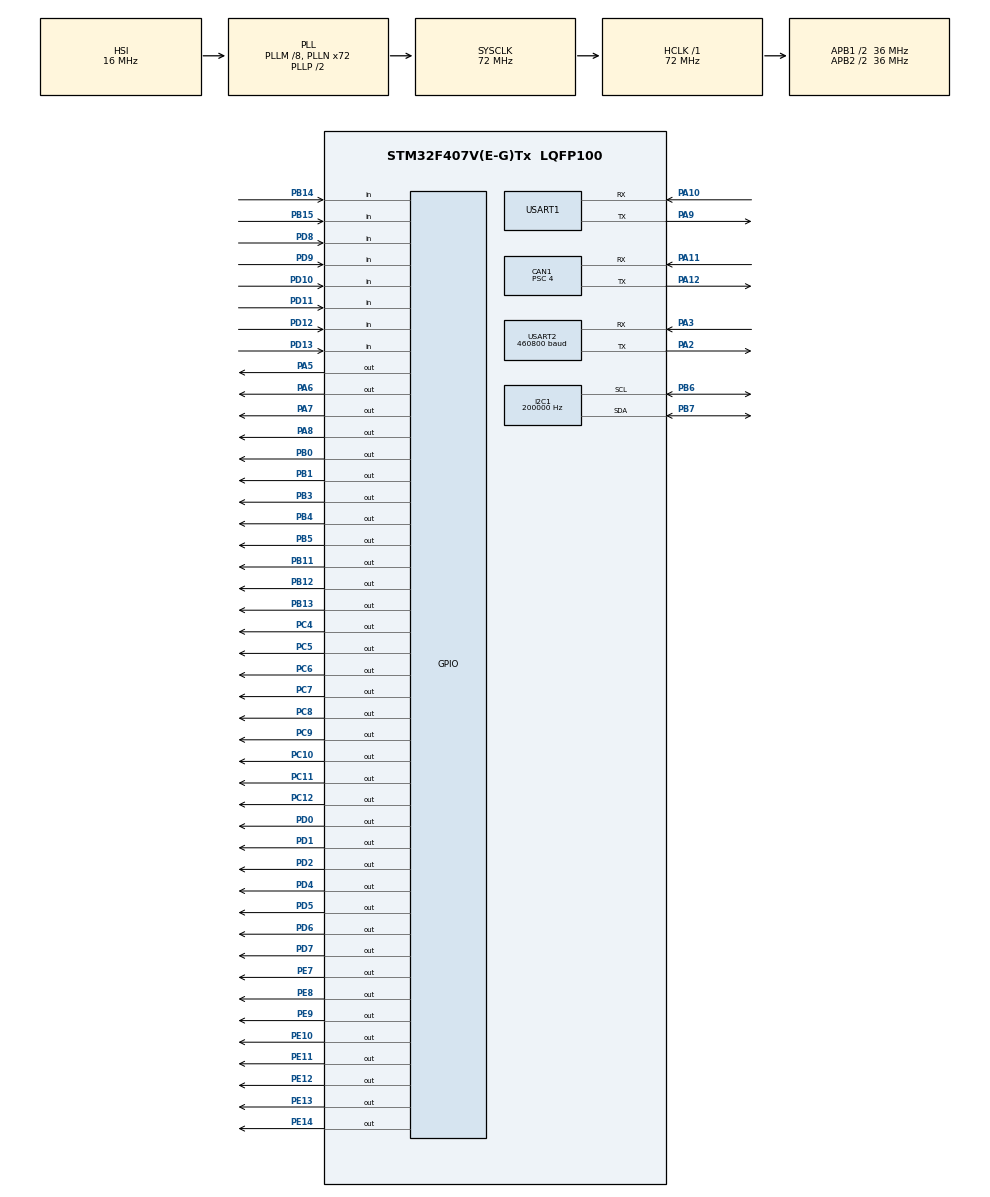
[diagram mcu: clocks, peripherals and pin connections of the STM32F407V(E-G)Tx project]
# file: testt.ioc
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CAN1.BS1=CAN_BS1_15TQ
CAN1.BS2=CAN_BS2_2TQ
CAN1.CalculateBaudRate=500000
CAN1.CalculateTimeBit=2000
CAN1.CalculateTimeQuantum=111.11111111111111
CAN1.Mode=CAN_MODE_NORMAL
CAN1.Prescaler=4
I2C1.ClockSpeed=200000
I2C1.I2C_Mode=I2C_Fast
Mcu.Family=STM32F4
Mcu.Name=STM32F407V(E-G)Tx
Mcu.Package=LQFP100
NVIC.CAN1_RX0_IRQn=true\:0\:0\:false\:false\:true\:true\:true\:true
NVIC.CAN1_RX1_IRQn=true\:0\:0\:false\:false\:true\:true\:true\:true
NVIC.CAN1_TX_IRQn=true\:0\:0\:false\:false\:true\:true\:true\:true
NVIC.PriorityGroup=NVIC_PRIORITYGROUP_4
NVIC.USART2_IRQn=true\:0\:0\:false\:false\:true\:true\:true\:true
PA10.Mode=Asynchronous
PA10.Signal=USART1_RX
PA11.GPIO_PuPd=GPIO_NOPULL
PA11.Mode=CAN_Activate
PA11.Signal=CAN1_RX
PA12.Mode=CAN_Activate
PA12.Signal=CAN1_TX
PA13.Mode=Serial_Wire
PA13.Signal=SYS_JTMS-SWDIO
PA14.Mode=Serial_Wire
PA14.Signal=SYS_JTCK-SWCLK
PA2.Mode=Asynchronous
PA2.Signal=USART2_TX
PA3.Mode=Asynchronous
PA3.Signal=USART2_RX
PA5.Signal=GPIO_Output
PA6.Signal=GPIO_Output
PA7.Signal=GPIO_Output
PA8.Signal=GPIO_Output
PA9.Mode=Asynchronous
PA9.Signal=USART1_TX
PB0.Signal=GPIO_Output
PB1.Signal=GPIO_Output
PB11.Signal=GPIO_Output
PB12.Signal=GPIO_Output
PB13.Signal=GPIO_Output
PB14.Signal=GPIO_Input
PB15.Signal=GPIO_Input
PB3.Signal=GPIO_Output
PB4.Signal=GPIO_Output
PB5.Signal=GPIO_Output
PB6.Mode=I2C
PB6.Signal=I2C1_SCL
PB7.Mode=I2C
PB7.Signal=I2C1_SDA
PC10.Signal=GPIO_Output
PC11.Signal=GPIO_Output
PC12.Signal=GPIO_Output
PC4.Signal=GPIO_Output
PC5.Signal=GPIO_Output
PC6.Signal=GPIO_Output
PC7.Signal=GPIO_Output
PC8.Signal=GPIO_Output
PC9.Signal=GPIO_Output
PD0.Signal=GPIO_Output
PD1.Signal=GPIO_Output
PD10.Signal=GPIO_Input
PD11.Signal=GPIO_Input
PD12.Signal=GPIO_Input
PD13.Signal=GPIO_Input
PD2.Signal=GPIO_Output
PD4.Signal=GPIO_Output
PD5.Signal=GPIO_Output
PD6.Signal=GPIO_Output
PD7.Signal=GPIO_Output
PD8.Signal=GPIO_Input
PD9.Signal=GPIO_Input
PE10.Signal=GPIO_Output
PE11.Signal=GPIO_Output
PE12.Signal=GPIO_Output
PE13.Signal=GPIO_Output
PE14.Signal=GPIO_Output
PE7.Signal=GPIO_Output
PE8.Signal=GPIO_Output
PE9.Signal=GPIO_Output
PH0-OSC_IN.Mode=HSE-External-Oscillator
PH0-OSC_IN.Signal=RCC_OSC_IN
PH1-OSC_OUT.Mode=HSE-External-Oscillator
PH1-OSC_OUT.Signal=RCC_OSC_OUT
ProjectManager.HeapSize=0x200
ProjectManager.StackSize=0x400
ProjectManager.TargetToolchain=STM32CubeIDE
RCC.48MHZClocksFreq_Value=36000000
RCC.AHBFreq_Value=72000000
RCC.APB1CLKDivider=RCC_HCLK_DIV2
RCC.APB1Freq_Value=36000000
RCC.APB1TimFreq_Value=72000000
RCC.APB2CLKDivider=RCC_HCLK_DIV2
RCC.APB2Freq_Value=36000000
RCC.APB2TimFreq_Value=72000000
RCC.CortexFreq_Value=72000000
RCC.HCLKFreq_Value=72000000
RCC.HSE_VALUE=16000000
RCC.HSI_VALUE=16000000
RCC.LSE_VALUE=32768
RCC.PLLM=8
RCC.PLLN=72
RCC.SYSCLKFreq_VALUE=72000000
RCC.SYSCLKSource=RCC_SYSCLKSOURCE_PLLCLK
RCC.VCOOutputFreq_Value=144000000
TIM1.Period=0xFFFF - 1
TIM1.Prescaler=168 -1
USART1.VirtualMode=VM_ASYNC
USART2.BaudRate=460800
USART2.VirtualMode=VM_ASYNC
VP_TIM1_VS_ClockSourceINT.Mode=Internal
board=custom

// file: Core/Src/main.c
/* USER CODE BEGIN Header */
/**
  ******************************************************************************
  * @file           : main.c
  * @brief          : Main program body
  ******************************************************************************
  * @attention
  *
  * Copyright (c) 2025 STMicroelectronics.
  * All rights reserved.
  *
  * This software is licensed under terms that can be found in the LICENSE file
  * in the root directory of this software component.
  * If no LICENSE file comes with this software, it is provided AS-IS.
  *
  ******************************************************************************
  */
/* USER CODE END Header */
#include "main.h"

/* USER CODE BEGIN Includes */
#include "stdio.h"
#include "stdbool.h"

#include "../../app/Screen.h"

#include "../../lib/AT24Cxx.h"
#include "../../lib/ADS1115.h"

#include "Control_IC.h"

/* USER CODE END Includes */

/* USER CODE BEGIN PD */
#define DEVICE 2
/* USER CODE END PD */

CAN_HandleTypeDef hcan1;

I2C_HandleTypeDef hi2c1;

TIM_HandleTypeDef htim1;

UART_HandleTypeDef huart1;
UART_HandleTypeDef huart2;

/* USER CODE BEGIN PV */

uint8_t Data_test_short_circuit[20] = {2,2,2,2,2,2,2,2,2,2,2,2,2,2,2,2,2,2,2,2};

uint8_t dataRX[100];
uint8_t data_output[20] ={0};
  // "$4053"                // NAME
  // "Description"          // Description
  // "16"                   // Num pin
  // "8"                    // Num case
// char *data_test = {
//   "11L1100G0001011V\n"
//   "11L1100G0011101V\n"
//   "11L1100G0101110V\n"
//   "11L1100G0110111V\n"
//   "01L1100G1001111V\n"
//   "11L1000G1011111V\n"
//   "10L1100G1101111V\n"
//   "11L0100G1111111V\n"
// 		"end"
// };
char data_test[250];
/* USER CODE END PV */

void SystemClock_Config(void);
static void MX_GPIO_Init(void);
static void MX_USART2_UART_Init(void);
static void MX_TIM1_Init(void);
static void MX_I2C1_Init(void);
static void MX_CAN1_Init(void);
static void MX_USART1_UART_Init(void);
/* USER CODE BEGIN PFP */

struct __FILE
{
  int handle;
  /* Whatever you require here. If the only file you are using is */
  /* standard output using printf() for debugging, no file handling */
  /* is required. */
};
/* USER CODE END PFP */

/* USER CODE BEGIN 0 */

CAN_TxHeaderTypeDef TxHeader;
CAN_RxHeaderTypeDef RxHeader;

uint8_t TxData[8];
uint8_t RxData[8];

uint32_t TxMailbox;

uint8_t ena = 0;
uint8_t RxCAn = 0;

float ADC_data[20] = {0};
float ADC_DUT1;
uint8_t channel_read_adc = 0;

IsoTpLink CAN_iso;
static uint8_t can_iso_recv_buf[250];
static uint8_t can_iso_send_buf[250];

Control_IC_Test_t Control_IC_test;
bool flag_run_test;

/* USER CODE END 0 */

int main(void)
{

  /* MCU Configuration--------------------------------------------------------*/

  /* Reset of all peripherals, Initializes the Flash interface and the Systick. */
  HAL_Init();

  /* Configure the system clock */
  SystemClock_Config();

  /* Initialize all configured peripherals */
  MX_GPIO_Init();
  MX_USART2_UART_Init();
  MX_TIM1_Init();
  MX_I2C1_Init();
  MX_CAN1_Init();
  MX_USART1_UART_Init();
  /* USER CODE BEGIN 2 */

  // Init STM32
//  HAL_Delay(3000);
  HAL_UARTEx_ReceiveToIdle_IT(&huart2, dataRX, sizeof(dataRX)); // Enable interrupt UART

  HAL_TIM_Base_Start(&htim1);

  // Init custom code
//  Control_IC_begin();

  Latch_IC_begin();

  //  uint8_t IC_test_data[20] = {0,0,0,0,0,0,0,0,0,1,0,0,0,0,0,0,0,0,0,0};
    // uint8_t IC_test_data[20] = {2,2,2,2,2,2,2,2,2,1,0,2,2,2,2,2,2,2,2,2};
  uint8_t IC_test_data_1[20] = {0,0,2,0,0,0,0,0,2,1,0,2,0,0,0,0,1,0,0,1};  // 0
  uint8_t IC_test_data_2[20] = {0,0,2,0,0,0,0,0,2,1,0,2,0,0,0,0,0,0,0,1};  // 0
  uint8_t IC_test_data[20] =   {2,2,2,2,2,2,2,2,2,0,1,2,2,2,2,2,2,2,2,2};

//  uint8_t IC_test_data[20];
  memset(IC_test_data,2,sizeof(IC_test_data));
  WritePin_ICTest(IC_test_data);
  TurnOff_short_circuit();
  uint8_t data_Ron[20];
  memset(data_Ron,1,sizeof(data_Ron));
  WritePin_Ron(data_Ron);

  flag_run_test = false;
  //  uint8_t data_Current[20] = {0,0,0,0,0,0,1,0,0,0,0,0,0,0,0,0,0,0,0,0};
//  memset(data_Current,1,sizeof(data_Current));
  //  WritePin_CurrentLeakage(data_Current);
//  HAL_GPIO_WritePin(GPIOE, GPIO_PIN_7, GPIO_PIN_RESET);
//  HAL_GPIO_WritePin(GPIOE, GPIO_PIN_8, GPIO_PIN_SET);

  ADS1115_t ADS1115;
  config_reg_t config_reg_ads;
  config_reg_ads.PGA = PGA_6_144;
  config_reg_ads.channel = DEFAULT_VALUE_CHANNEL;
  config_reg_ads.compareMode = DEFAULT_VALUE_COMP_MODE;
  config_reg_ads.DataRate = DEFAULT_VALUE_DATARATE;
  config_reg_ads.latchingMode = DEFAULT_VALUE_COMP_LAT;
  config_reg_ads.mode = DEFAULT_VALUE_MODE;
  config_reg_ads.polarityMode = DEFAULT_VALUE_COMP_POL;
  config_reg_ads.queueComparator = DEFAULT_VALUE_COMP_QUE;

  ADS1115.config = &config_reg_ads;

  ADS1115_Init(&ADS1115,&hi2c1,ADS1115_READ_ADC_ADDRESS);

  // TurnOn_short_circuit();
  // for (uint8_t i = 0; i < 20; i++) {
  //   Read_ADC_IC_test(&ADS1115,i,ADC_data);
  // }
  // TurnOff_short_circuit();
  //   memset(IC_test_data,1,sizeof(IC_test_data));
  //   WritePin_ICTest(IC_test_data);
  // for (uint8_t i = 0; i < 20; i++) {
  //   Read_ADC_IC_test(&ADS1115,i,ADC_data);
  // }

//  Screen_begin(&huart2);

  // uint8_t num_case = 8;
  // uint8_t num_pin  = 16;
  uint8_t num_pin_control = 20;
  // uint8_t (*data_control)[20] = malloc(num_case * sizeof(*data_control));

  char * ptr_data_test ;
  uint8_t count_case = 0;

  uint8_t buffer[20];
  uint8_t can_send_result_test[500];
  /* convert data test to data control IC test */
//  ptr_data_test = strtok(data_test,"\n");
//  while (ptr_data_test != NULL) {
//    convert_data_test(num_pin,ptr_data_test,data_control[count_case]);
//    memcpy(buffer,data_control[count_case],20);
//    count_case++;
//    // ptr_data_test = strchr(ptr_data_test,'\n');
//    ptr_data_test = strtok(NULL,"\n");
//    // ptr_data_test++;
//  }

  //  HAL_GPIO_WritePin(GPIOC,GPIO_PIN_7,GPIO_PIN_SET); // D0
  //  HAL_GPIO_WritePin(GPIOC,GPIO_PIN_6,GPIO_PIN_SET); // D1

//  Control_Program_IC_Test(data_test[1],16);

  // Active the notification
//  TxHeader.DLC = 6;
//  TxHeader.StdId = 0x103;
//  TxHeader.IDE = CAN_ID_STD;
//  TxHeader.RTR = CAN_RTR_DATA;
//
//  uint8_t data_tx[6] = {'H','E','L','L','O','3'};
  // HAL_CAN_AddTxMessage(&hcan1, &TxHeader, data_tx, &TxMailbox);

#if DEVICE == 1
  isotp_init_link(&CAN_iso, 0x471, can_iso_send_buf , sizeof(can_iso_send_buf)
                                , can_iso_recv_buf, sizeof(can_iso_recv_buf));
#elif DEVICE == 2
  isotp_init_link(&CAN_iso, 0x472, can_iso_send_buf , sizeof(can_iso_send_buf)
                              , can_iso_recv_buf, sizeof(can_iso_recv_buf));
#elif DEVICE == 3
  isotp_init_link(&CAN_iso, 0x473, can_iso_send_buf , sizeof(can_iso_send_buf)
                                , can_iso_recv_buf, sizeof(can_iso_recv_buf));
#endif

  /* start the CAN */
  HAL_CAN_Start(&hcan1);

  HAL_CAN_ActivateNotification(&hcan1, CAN_IT_RX_FIFO0_MSG_PENDING);

  // uint32_t pre;
  // pre = 0;
  /* USER CODE END 2 */

  /* Infinite loop */
    while (1)
  {

    /* USER CODE BEGIN 3 */

//    if (HAL_GetTick() - pre > 2000) {
//      uint8_t send_data[200];
//      memcpy(send_data,data_test,140);
//      isotp_send(&CAN_iso, send_data, 140);
//      pre = HAL_GetTick();
//    }

      // HAL_CAN_AddTxMessage(&hcan1, &TxHeader, data_tx, &TxMailbox);
	    // HAL_Delay(2000);
	  //  HAL_GPIO_TogglePin(GPIOD, GPIO_PIN_9);
	  //  HAL_Delay(1000);
//    WritePin_ICTest(IC_test_data_1);
//    ReadPin_IC_test(data_read);
    // WritePin_ICTest(IC_test_data);
    // ReadPin_IC_test(data_read);
//    for (uint8_t i = 0; i < 20; i++) {
//      Read_ADC_IC_test(&ADS1115,i,ADC_data);
//      // ADC_DUT1 = ADS1115_single_getdata(&ADS1115, CHANNEL_AIN0_GND);
//    }
//    Read_ADC_IC_test(&ADS1115,channel_read_adc,ADC_data);
//	  HAL_Delay(10);
    if (flag_run_test) {
      /* First test short circuit */
      switch (Control_IC_test.cur_case) {
        case TEST_SHORT_CIRCUIT : {
          /* setup float pin IC test, enable PULLUP,PULLDOWN */
          Control_IC_test.data_control_testing = &Data_test_short_circuit;
          Control_IC_test.isShort = 0;
          reset_TXS();
          // Control_IC_test.result_short_pin = malloc(num_pin_control);
          memset(Control_IC_test.result_short_pin,1,num_pin_control);
          WritePin_ICTest(Control_IC_test.data_control_testing);
          TurnOn_short_circuit();
          Control_IC_test.result_short_circuit = malloc(20 * sizeof(float));
          /* read the adc pin */
          for (uint8_t i = 0; i < 20; i++) {
            Read_ADC_IC_test(&ADS1115,i,Control_IC_test.result_short_circuit);
            if (Control_IC_test.result_short_circuit[i] < 2.0f || Control_IC_test.result_short_circuit[i] > 2.8f) {
              Control_IC_test.result_short_pin[i] = 0;
              Control_IC_test.isShort = 1;
            }
          }
          memcpy(ADC_data,Control_IC_test.result_short_circuit,20*4);
          if (Control_IC_test.num_pin == 18) {
              for (uint8_t i = 9; i < Control_IC_test.num_pin; i++) {
                Control_IC_test.result_short_pin[i] = Control_IC_test.result_short_pin[i + 2];
              }
          } else if (Control_IC_test.num_pin == 16) {
              for (uint8_t i = 8; i < Control_IC_test.num_pin; i++) {
                Control_IC_test.result_short_pin[i] = Control_IC_test.result_short_pin[i + 4];
              }
          } else if (Control_IC_test.num_pin == 14) {
              for (uint8_t i = 7; i < Control_IC_test.num_pin; i++) {
                Control_IC_test.result_short_pin[i] = Control_IC_test.result_short_pin[i + 6];
              }
          }
          TurnOff_short_circuit();

          if (Control_IC_test.isShort) {
            Control_IC_test.cur_case = FINISH_TEST;
          } else {
            Control_IC_test.cur_case = TEST_FUNCTION;
          }
        } break;
        case TEST_FUNCTION : {
          uint8_t copy_buf[500] = {0};
          bool is_clock_transition = false;

          /* reset array */
          memset(Control_IC_test.data_control_first_state,0,sizeof(Control_IC_test.data_control_first_state));
          memset(Control_IC_test.data_control_second_state,0,sizeof(Control_IC_test.data_control_second_state));

          /* convert data test to data control IC test */
          Control_IC_test.data_control_testing = malloc(Control_IC_test.num_case * num_pin_control);
          memset(Control_IC_test.data_control_testing,0,Control_IC_test.num_case * num_pin_control);

          memcpy(copy_buf,Control_IC_test.data_test,Control_IC_test.data_test_len);
          count_case = 0;
          ptr_data_test = strtok(copy_buf,"\n");
          /* need check first case to know have clock transition or not */
          is_clock_transition = has_clock_transition(Control_IC_test.num_pin,ptr_data_test);
          /* convert and check data per case */
          while (ptr_data_test != NULL) {
            if (is_clock_transition) {
              convert_data_test_first_state(Control_IC_test.num_pin,ptr_data_test,&Control_IC_test.data_control_first_state[num_pin_control * count_case]);
              convert_data_test_second_state(Control_IC_test.num_pin,ptr_data_test,&Control_IC_test.data_control_second_state[num_pin_control * count_case]);
            } else {
              convert_data_test(Control_IC_test.num_pin,ptr_data_test,&Control_IC_test.data_control_testing[num_pin_control * count_case]);
              // memcpy(buffer,Control_IC_test.data_control_testing + (num_pin_control * count_case),20);
            }
            count_case++;
            ptr_data_test = strtok(NULL,"\n"); /* go to next case test data */
          }

          /* control pin with data test */
          TurnOff_short_circuit();
          Control_IC_test.result_test_function = malloc(Control_IC_test.num_case * Control_IC_test.num_pin);
          memset(Control_IC_test.result_test_function,0,Control_IC_test.num_case * Control_IC_test.num_pin);
          count_case = 0;
          while (count_case < Control_IC_test.num_case) {
            reset_TXS();
            if (is_clock_transition) {
              WritePin_ICTest(Control_IC_test.data_control_first_state + (num_pin_control * count_case));
              HAL_Delay(10);
              WritePin_ICTest(Control_IC_test.data_control_second_state + (num_pin_control * count_case));
              HAL_Delay(10);
            } else {
              WritePin_ICTest(Control_IC_test.data_control_testing + (num_pin_control * count_case));
              memcpy(buffer,Control_IC_test.data_control_testing + (num_pin_control * count_case),20);
              HAL_Delay(10);
            }

            ReadPin_IC_test(Control_IC_test.result_test_function + (Control_IC_test.num_pin * count_case),Control_IC_test.num_pin);
//              memcpy(buffer,Control_IC_test.result_test_function + (Control_IC_test.num_pin * count_case),Control_IC_test.num_pin);
            count_case++;
          }

          memcpy(can_send_result_test,Control_IC_test.result_test_function,Control_IC_test.num_pin * Control_IC_test.num_case);
          /* check result */
          // Control_IC_test.result_case = malloc(Control_IC_test.num_case * sizeof(uint8_t));
          memset(Control_IC_test.result_case,0,sizeof(Control_IC_test.result_case));
          memset(Control_IC_test.result_case,1,Control_IC_test.num_case);
          count_case = 0;
          memcpy(copy_buf,Control_IC_test.data_test,Control_IC_test.data_test_len);
          ptr_data_test = strtok(copy_buf,"\n");

          while (ptr_data_test != NULL) {
            // uint8_t *result_case = (uint8_t *)(Control_IC_test.result_test_function + (Control_IC_test.num_pin * count_case));
            // memcpy(buffer,result_case,Control_IC_test.num_pin);
            for (uint8_t pin = 0; pin < Control_IC_test.num_pin; pin++) {
              if (ptr_data_test[pin] == 'U' || ptr_data_test[pin] == 'D') {
                continue;
              }
              if (convert_data_compare(ptr_data_test[pin]) != can_send_result_test[pin + (count_case * Control_IC_test.num_pin)]) {
                Control_IC_test.result_case[count_case] = 0;
                break;
              }
            }
            count_case++;
            ptr_data_test = strtok(NULL,"\n");
          }
          memcpy(buffer,Control_IC_test.result_case,Control_IC_test.num_case);
          Control_IC_test.cur_case = FINISH_TEST;
        } break;
        case FINISH_TEST : {
          /* send data to master */
          uint8_t total_data_send_can[500];
          memset(total_data_send_can,0,sizeof(total_data_send_can));
          total_data_send_can[0] = Control_IC_test.isShort;
          memcpy(&total_data_send_can[2],&Control_IC_test.result_short_pin[0],Control_IC_test.num_pin);
          memcpy(&total_data_send_can[Control_IC_test.num_pin+3],Control_IC_test.result_test_function,Control_IC_test.num_case*Control_IC_test.num_pin);
          memcpy(&total_data_send_can[Control_IC_test.num_pin+5+Control_IC_test.num_case*Control_IC_test.num_pin],Control_IC_test.result_case,Control_IC_test.num_case);
          /* convert data to char type */
          for (uint16_t i = 0; i < (Control_IC_test.num_pin + 6 + Control_IC_test.num_case*Control_IC_test.num_pin + Control_IC_test.num_case); i++) {
            total_data_send_can[i] = '0' + total_data_send_can[i];
          }

          total_data_send_can[1] = '\0';
          total_data_send_can[Control_IC_test.num_pin+2] = '\0';
          total_data_send_can[Control_IC_test.num_pin+4+Control_IC_test.num_case*Control_IC_test.num_pin] = '\0';
          isotp_send(&CAN_iso,total_data_send_can,(Control_IC_test.num_pin + 4 + Control_IC_test.num_case*Control_IC_test.num_pin + Control_IC_test.num_case));
          flag_run_test = false;
        } break;
        default : break;
      }
    }

  }
  /* USER CODE END 3 */
}

void SystemClock_Config(void)
{
  RCC_OscInitTypeDef RCC_OscInitStruct = {0};
  RCC_ClkInitTypeDef RCC_ClkInitStruct = {0};

  /** Configure the main internal regulator output voltage
  */
  __HAL_RCC_PWR_CLK_ENABLE();
  __HAL_PWR_VOLTAGESCALING_CONFIG(PWR_REGULATOR_VOLTAGE_SCALE1);

  /** Initializes the RCC Oscillators according to the specified parameters
  * in the RCC_OscInitTypeDef structure.
  */
  RCC_OscInitStruct.OscillatorType = RCC_OSCILLATORTYPE_HSI;
  RCC_OscInitStruct.HSIState = RCC_HSI_ON;
  RCC_OscInitStruct.HSICalibrationValue = RCC_HSICALIBRATION_DEFAULT;
  RCC_OscInitStruct.PLL.PLLState = RCC_PLL_ON;
  RCC_OscInitStruct.PLL.PLLSource = RCC_PLLSOURCE_HSI;
  RCC_OscInitStruct.PLL.PLLM = 8;
  RCC_OscInitStruct.PLL.PLLN = 72;
  RCC_OscInitStruct.PLL.PLLP = RCC_PLLP_DIV2;
  RCC_OscInitStruct.PLL.PLLQ = 4;
  if (HAL_RCC_OscConfig(&RCC_OscInitStruct) != HAL_OK)
  {
    Error_Handler();
  }

  /** Initializes the CPU, AHB and APB buses clocks
  */
  RCC_ClkInitStruct.ClockType = RCC_CLOCKTYPE_HCLK|RCC_CLOCKTYPE_SYSCLK
                              |RCC_CLOCKTYPE_PCLK1|RCC_CLOCKTYPE_PCLK2;
  RCC_ClkInitStruct.SYSCLKSource = RCC_SYSCLKSOURCE_PLLCLK;
  RCC_ClkInitStruct.AHBCLKDivider = RCC_SYSCLK_DIV1;
  RCC_ClkInitStruct.APB1CLKDivider = RCC_HCLK_DIV2;
  RCC_ClkInitStruct.APB2CLKDivider = RCC_HCLK_DIV2;

  if (HAL_RCC_ClockConfig(&RCC_ClkInitStruct, FLASH_LATENCY_2) != HAL_OK)
  {
    Error_Handler();
  }
}

static void MX_CAN1_Init(void)
{

  hcan1.Instance = CAN1;
  hcan1.Init.Prescaler = 4;
  hcan1.Init.Mode = CAN_MODE_NORMAL;
  hcan1.Init.SyncJumpWidth = CAN_SJW_1TQ;
  hcan1.Init.TimeSeg1 = CAN_BS1_15TQ;
  hcan1.Init.TimeSeg2 = CAN_BS2_2TQ;
  hcan1.Init.TimeTriggeredMode = DISABLE;
  hcan1.Init.AutoBusOff = DISABLE;
  hcan1.Init.AutoWakeUp = DISABLE;
  hcan1.Init.AutoRetransmission = DISABLE;
  hcan1.Init.ReceiveFifoLocked = DISABLE;
  hcan1.Init.TransmitFifoPriority = DISABLE;
  if (HAL_CAN_Init(&hcan1) != HAL_OK)
  {
    Error_Handler();
  }
  /* USER CODE BEGIN CAN1_Init 2 */
  CAN_FilterTypeDef canfilterconfig;

#if DEVIVE == 1
 canfilterconfig.FilterActivation = CAN_FILTER_ENABLE;
 canfilterconfig.FilterBank = 18;  // which filter bank to use from the assigned ones
 canfilterconfig.FilterFIFOAssignment = CAN_FILTER_FIFO0;
 canfilterconfig.FilterIdHigh = 0x131<<5;
 canfilterconfig.FilterIdLow = 0;
 canfilterconfig.FilterMaskIdHigh = 0x131<<5;
 canfilterconfig.FilterMaskIdLow = 0;
 canfilterconfig.FilterMode = CAN_FILTERMODE_IDMASK;
 canfilterconfig.FilterScale = CAN_FILTERSCALE_32BIT;
 canfilterconfig.SlaveStartFilterBank = 20;
#elif DEVICE == 2
  canfilterconfig.FilterActivation = CAN_FILTER_ENABLE;
  canfilterconfig.FilterBank = 18;  // which filter bank to use from the assigned ones
  canfilterconfig.FilterFIFOAssignment = CAN_FILTER_FIFO0;
  canfilterconfig.FilterIdHigh = 0x132<<5;
  canfilterconfig.FilterIdLow = 0;
  canfilterconfig.FilterMaskIdHigh = 0x132<<5;
  canfilterconfig.FilterMaskIdLow = 0;
  canfilterconfig.FilterMode = CAN_FILTERMODE_IDMASK;
  canfilterconfig.FilterScale = CAN_FILTERSCALE_32BIT;
  canfilterconfig.SlaveStartFilterBank = 20;
#elif DEVICE == 3
  canfilterconfig.FilterActivation = CAN_FILTER_ENABLE;
  canfilterconfig.FilterBank = 18;  // which filter bank to use from the assigned ones
  canfilterconfig.FilterFIFOAssignment = CAN_FILTER_FIFO0;
  canfilterconfig.FilterIdHigh = 0x134<<5;
  canfilterconfig.FilterIdLow = 0;
  canfilterconfig.FilterMaskIdHigh = 0x134<<5;
  canfilterconfig.FilterMaskIdLow = 0;
  canfilterconfig.FilterMode = CAN_FILTERMODE_IDMASK;
  canfilterconfig.FilterScale = CAN_FILTERSCALE_32BIT;
  canfilterconfig.SlaveStartFilterBank = 20;
#endif

  HAL_CAN_ConfigFilter(&hcan1, &canfilterconfig);
  /* USER CODE END CAN1_Init 2 */

}

static void MX_I2C1_Init(void)
{

  hi2c1.Instance = I2C1;
  hi2c1.Init.ClockSpeed = 200000;
  hi2c1.Init.DutyCycle = I2C_DUTYCYCLE_2;
  hi2c1.Init.OwnAddress1 = 0;
  hi2c1.Init.AddressingMode = I2C_ADDRESSINGMODE_7BIT;
  hi2c1.Init.DualAddressMode = I2C_DUALADDRESS_DISABLE;
  hi2c1.Init.OwnAddress2 = 0;
  hi2c1.Init.GeneralCallMode = I2C_GENERALCALL_DISABLE;
  hi2c1.Init.NoStretchMode = I2C_NOSTRETCH_DISABLE;
  if (HAL_I2C_Init(&hi2c1) != HAL_OK)
  {
    Error_Handler();
  }

}

static void MX_TIM1_Init(void)
{

  TIM_ClockConfigTypeDef sClockSourceConfig = {0};
  TIM_MasterConfigTypeDef sMasterConfig = {0};

  htim1.Instance = TIM1;
  htim1.Init.Prescaler = 168 -1;
  htim1.Init.CounterMode = TIM_COUNTERMODE_UP;
  htim1.Init.Period = 0xFFFF - 1;
  htim1.Init.ClockDivision = TIM_CLOCKDIVISION_DIV1;
  htim1.Init.RepetitionCounter = 0;
  htim1.Init.AutoReloadPreload = TIM_AUTORELOAD_PRELOAD_DISABLE;
  if (HAL_TIM_Base_Init(&htim1) != HAL_OK)
  {
    Error_Handler();
  }
  sClockSourceConfig.ClockSource = TIM_CLOCKSOURCE_INTERNAL;
  if (HAL_TIM_ConfigClockSource(&htim1, &sClockSourceConfig) != HAL_OK)
  {
    Error_Handler();
  }
  sMasterConfig.MasterOutputTrigger = TIM_TRGO_RESET;
  sMasterConfig.MasterSlaveMode = TIM_MASTERSLAVEMODE_DISABLE;
  if (HAL_TIMEx_MasterConfigSynchronization(&htim1, &sMasterConfig) != HAL_OK)
  {
    Error_Handler();
  }

}

static void MX_USART1_UART_Init(void)
{

  huart1.Instance = USART1;
  huart1.Init.BaudRate = 115200;
  huart1.Init.WordLength = UART_WORDLENGTH_8B;
  huart1.Init.StopBits = UART_STOPBITS_1;
  huart1.Init.Parity = UART_PARITY_NONE;
  huart1.Init.Mode = UART_MODE_TX_RX;
  huart1.Init.HwFlowCtl = UART_HWCONTROL_NONE;
  huart1.Init.OverSampling = UART_OVERSAMPLING_16;
  if (HAL_UART_Init(&huart1) != HAL_OK)
  {
    Error_Handler();
  }

}

static void MX_USART2_UART_Init(void)
{

  huart2.Instance = USART2;
  huart2.Init.BaudRate = 460800;
  huart2.Init.WordLength = UART_WORDLENGTH_8B;
  huart2.Init.StopBits = UART_STOPBITS_1;
  huart2.Init.Parity = UART_PARITY_NONE;
  huart2.Init.Mode = UART_MODE_TX_RX;
  huart2.Init.HwFlowCtl = UART_HWCONTROL_NONE;
  huart2.Init.OverSampling = UART_OVERSAMPLING_16;
  if (HAL_UART_Init(&huart2) != HAL_OK)
  {
    Error_Handler();
  }

}

static void MX_GPIO_Init(void)
{
  GPIO_InitTypeDef GPIO_InitStruct = {0};

  /* GPIO Ports Clock Enable */
  __HAL_RCC_GPIOH_CLK_ENABLE();
  __HAL_RCC_GPIOA_CLK_ENABLE();
  __HAL_RCC_GPIOC_CLK_ENABLE();
  __HAL_RCC_GPIOB_CLK_ENABLE();
  __HAL_RCC_GPIOE_CLK_ENABLE();
  __HAL_RCC_GPIOD_CLK_ENABLE();

  /*Configure GPIO pin Output Level */
  HAL_GPIO_WritePin(GPIOA, GPIO_PIN_5|GPIO_PIN_6|GPIO_PIN_7|GPIO_PIN_8, GPIO_PIN_RESET);

  /*Configure GPIO pin Output Level */
  HAL_GPIO_WritePin(GPIOC, GPIO_PIN_4|GPIO_PIN_5|GPIO_PIN_6|GPIO_PIN_7
                          |GPIO_PIN_8|GPIO_PIN_9|GPIO_PIN_10|GPIO_PIN_11
                          |GPIO_PIN_12, GPIO_PIN_RESET);

  /*Configure GPIO pin Output Level */
  HAL_GPIO_WritePin(GPIOB, GPIO_PIN_0|GPIO_PIN_1|GPIO_PIN_11|GPIO_PIN_12
                          |GPIO_PIN_13|GPIO_PIN_3|GPIO_PIN_4|GPIO_PIN_5, GPIO_PIN_RESET);

  /*Configure GPIO pin Output Level */
  HAL_GPIO_WritePin(GPIOE, GPIO_PIN_7|GPIO_PIN_8|GPIO_PIN_9|GPIO_PIN_10
                          |GPIO_PIN_11|GPIO_PIN_12|GPIO_PIN_13|GPIO_PIN_14, GPIO_PIN_RESET);

  /*Configure GPIO pin Output Level */
  HAL_GPIO_WritePin(GPIOD, GPIO_PIN_0|GPIO_PIN_1|GPIO_PIN_2|GPIO_PIN_4
                          |GPIO_PIN_5|GPIO_PIN_6|GPIO_PIN_7, GPIO_PIN_RESET);

  /*Configure GPIO pins : PA5 PA6 PA7 PA8 */
  GPIO_InitStruct.Pin = GPIO_PIN_5|GPIO_PIN_6|GPIO_PIN_7|GPIO_PIN_8;
  GPIO_InitStruct.Mode = GPIO_MODE_OUTPUT_PP;
  GPIO_InitStruct.Pull = GPIO_NOPULL;
  GPIO_InitStruct.Speed = GPIO_SPEED_FREQ_LOW;
  HAL_GPIO_Init(GPIOA, &GPIO_InitStruct);

  /*Configure GPIO pins : PC4 PC5 PC6 PC7
                           PC8 PC9 PC10 PC11
                           PC12 */
  GPIO_InitStruct.Pin = GPIO_PIN_4|GPIO_PIN_5|GPIO_PIN_6|GPIO_PIN_7
                          |GPIO_PIN_8|GPIO_PIN_9|GPIO_PIN_10|GPIO_PIN_11
                          |GPIO_PIN_12;
  GPIO_InitStruct.Mode = GPIO_MODE_OUTPUT_PP;
  GPIO_InitStruct.Pull = GPIO_NOPULL;
  GPIO_InitStruct.Speed = GPIO_SPEED_FREQ_LOW;
  HAL_GPIO_Init(GPIOC, &GPIO_InitStruct);

  /*Configure GPIO pins : PB0 PB1 PB11 PB12
                           PB13 PB3 PB4 PB5 */
  GPIO_InitStruct.Pin = GPIO_PIN_0|GPIO_PIN_1|GPIO_PIN_11|GPIO_PIN_12
                          |GPIO_PIN_13|GPIO_PIN_3|GPIO_PIN_4|GPIO_PIN_5;
  GPIO_InitStruct.Mode = GPIO_MODE_OUTPUT_PP;
  GPIO_InitStruct.Pull = GPIO_NOPULL;
  GPIO_InitStruct.Speed = GPIO_SPEED_FREQ_LOW;
  HAL_GPIO_Init(GPIOB, &GPIO_InitStruct);

  /*Configure GPIO pins : PE7 PE8 PE9 PE10
                           PE11 PE12 PE13 PE14 */
  GPIO_InitStruct.Pin = GPIO_PIN_7|GPIO_PIN_8|GPIO_PIN_9|GPIO_PIN_10
                          |GPIO_PIN_11|GPIO_PIN_12|GPIO_PIN_13|GPIO_PIN_14;
  GPIO_InitStruct.Mode = GPIO_MODE_OUTPUT_PP;
  GPIO_InitStruct.Pull = GPIO_NOPULL;
  GPIO_InitStruct.Speed = GPIO_SPEED_FREQ_LOW;
  HAL_GPIO_Init(GPIOE, &GPIO_InitStruct);

  /*Configure GPIO pins : PB14 PB15 */
  GPIO_InitStruct.Pin = GPIO_PIN_14|GPIO_PIN_15;
  GPIO_InitStruct.Mode = GPIO_MODE_INPUT;
  GPIO_InitStruct.Pull = GPIO_NOPULL;
  HAL_GPIO_Init(GPIOB, &GPIO_InitStruct);

  /*Configure GPIO pins : PD8 PD9 PD10 PD11
                           PD12 PD13 */
  GPIO_InitStruct.Pin = GPIO_PIN_8|GPIO_PIN_9|GPIO_PIN_10|GPIO_PIN_11
                          |GPIO_PIN_12|GPIO_PIN_13;
  GPIO_InitStruct.Mode = GPIO_MODE_INPUT;
  GPIO_InitStruct.Pull = GPIO_NOPULL;
  HAL_GPIO_Init(GPIOD, &GPIO_InitStruct);

  /*Configure GPIO pins : PD0 PD1 PD2 PD4
                           PD5 PD6 PD7 */
  GPIO_InitStruct.Pin = GPIO_PIN_0|GPIO_PIN_1|GPIO_PIN_2|GPIO_PIN_4
                          |GPIO_PIN_5|GPIO_PIN_6|GPIO_PIN_7;
  GPIO_InitStruct.Mode = GPIO_MODE_OUTPUT_PP;
  GPIO_InitStruct.Pull = GPIO_NOPULL;
  GPIO_InitStruct.Speed = GPIO_SPEED_FREQ_LOW;
  HAL_GPIO_Init(GPIOD, &GPIO_InitStruct);

}

/* USER CODE BEGIN 4 */

void HAL_UARTEx_RxEventCallback(UART_HandleTypeDef *huart, uint16_t Size) {
	if( huart->Instance == huart2.Instance ) {

		// Call to callback function screen
		Screen_RX_data(dataRX);

		// Clear RX Buffer
		memset(dataRX,0,sizeof(dataRX));

		// Enable Interrupt UART again
		HAL_UARTEx_ReceiveToIdle_IT(&huart2, dataRX, sizeof(dataRX)); // Enable interrupt UART
	}
}

void HAL_CAN_RxFifo0MsgPendingCallback(CAN_HandleTypeDef *hcan) {
	HAL_CAN_GetRxMessage(&hcan1, CAN_RX_FIFO0, &RxHeader, RxData);
	uint8_t payload[500];
	uint16_t act_size = 0;
  isotp_on_can_message(&CAN_iso, RxData, RxHeader.DLC);
  isotp_poll(&CAN_iso);
  if (CAN_iso.receive_status == ISOTP_RECEIVE_STATUS_FULL) {
	  isotp_receive(&CAN_iso, payload, sizeof(payload), &act_size);
    /* Receive full data test */
    memset(Control_IC_test.data_test,0,sizeof(Control_IC_test.data_test));
    Control_IC_test.num_pin = payload[0];
    Control_IC_test.num_case = payload[2];
    memcpy(Control_IC_test.data_test,&payload[4],act_size - 4);
    Control_IC_test.data_test_len = act_size - 4;
    Control_IC_test.cur_case = TEST_SHORT_CIRCUIT;
    flag_run_test = true;
  }

}

//void HAL_CAN_TxMailbox0CompleteCallback(CAN_HandleTypeDef *hcan) {
//	  isotp_poll(&CAN_iso);
//}
//
//void HAL_CAN_TxMailbox1CompleteCallback(CAN_HandleTypeDef *hcan) {
//	  isotp_poll(&CAN_iso);
//}
//
//void HAL_CAN_TxMailbox2CompleteCallback(CAN_HandleTypeDef *hcan) {
//	  isotp_poll(&CAN_iso);
//}

int _write(int file, char *ptr, int len) {
    for (int i = 0; i < len; i++) {
        ITM_SendChar(ptr[i]);
    }
    return len;
}

/**
 * delay polling in microsecond
 */
void delay_us(uint16_t delay_us) {
	__HAL_TIM_SET_COUNTER(&htim1,0); // reset time 1 to 0

	while(__HAL_TIM_GET_COUNTER(&htim1) < delay_us );
}

/* FUNCTION USING IN CAN ISO TP */
int isotp_user_send_can(const uint32_t arbitration_id, const uint8_t* data, const uint8_t size) {
  TxHeader.DLC = size;
  TxHeader.StdId = arbitration_id;
  TxHeader.IDE = CAN_ID_STD;
  TxHeader.RTR = CAN_RTR_DATA;

  if (HAL_CAN_AddTxMessage(&hcan1, &TxHeader, data, &TxMailbox) == HAL_OK) {
	  //while (HAL_CAN_IsTxMessagePending(&hcan1, TxMailbox));
	  return ISOTP_RET_OK;
  }

  return ISOTP_RET_ERROR;
}

uint32_t isotp_user_get_ms(void) {
	return HAL_GetTick();
}

void isotp_user_debug(const char* message, ...) {

}

/* USER CODE END 4 */

void Error_Handler(void)
{
  __disable_irq();
  while (1)
  {
  }
}
